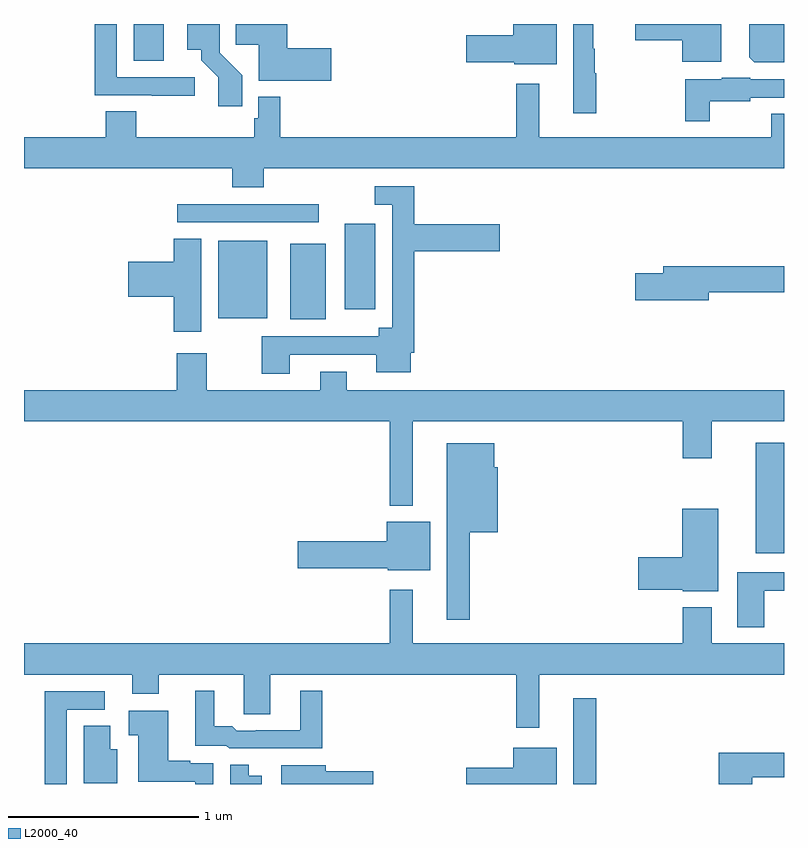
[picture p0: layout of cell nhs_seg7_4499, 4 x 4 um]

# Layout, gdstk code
import gdstk
lib = gdstk.Library(unit=1e-6, precision=1e-09)
def R(c, l, rs):  # rectangles x0, y0, x1, y1
    for r in rs: c.add(gdstk.rectangle(r[:2], r[2:], *l))
def P(c, l, *ps):  # polygons
    for p in ps: c.add(gdstk.Polygon(p, *l))
L2000_40 = (2000, 40)

nhs_seg7_4499 = lib.new_cell('nhs_seg7_4499')
R(nhs_seg7_4499, L2000_40, [(395.891,1040,396.013,1040.452), (396.851,1041.215,397,1041.796), (394.4,1042.445,394.588,1042.843), (394.022,1042.451,394.279,1042.858), (394.688,1042.5,394.849,1042.948), (393.807,1042.956,394.552,1043.052), (393.578,1043.806,393.736,1044)])
P(nhs_seg7_4499, L2000_40, [(394.618,1043.873),(394.385,1043.873),(394.385,1044),(394.114,1044),(394.114,1043.89),(394.235,1043.89),(394.235,1043.702),(394.618,1043.702)],
  [(397,1044),(396.818,1044),(396.818,1043.824),(396.844,1043.798),(397,1043.798)],
  [(396.013,1043.741),(396.005,1043.741),(396.005,1043.87),(395.995,1043.87),(395.995,1044),(395.891,1044),(395.891,1043.529),(396.013,1043.529)],
  [(394.148,1043.73),(394.029,1043.849),(394.029,1044),(393.86,1044),(393.86,1043.864),(393.932,1043.864),(393.932,1043.809),(394.023,1043.719),(394.023,1043.568),(394.148,1043.568)],
  [(393.898,1043.721),(393.489,1043.721),(393.489,1044),(393.373,1044),(393.373,1043.625),(393.673,1043.625),(393.673,1043.623),(393.898,1043.623)],
  [(395.803,1044),(395.576,1044),(395.576,1043.942),(395.328,1043.942),(395.328,1043.8),(395.58,1043.8),(395.58,1043.789),(395.803,1043.789)],
  [(396.67,1044),(396.216,1044),(396.216,1043.915),(396.464,1043.915),(396.464,1043.801),(396.67,1043.801)],
  [(396.61,1043.594),(396.822,1043.594),(396.822,1043.613),(397,1043.613),(397,1043.709),(396.822,1043.709),(396.822,1043.716),(396.672,1043.716),(396.672,1043.71),(396.481,1043.71),(396.481,1043.489),(396.61,1043.489)],
  [(394.262,1043.24),(397,1043.24),(397,1043.528),(396.934,1043.528),(396.934,1043.404),(395.713,1043.404),(395.713,1043.686),(395.592,1043.686),(395.592,1043.404),(394.349,1043.404),(394.349,1043.617),(394.233,1043.617),(394.233,1043.505),(394.213,1043.505),(394.213,1043.404),(393.59,1043.404),(393.59,1043.54),(393.43,1043.54),(393.43,1043.404),(393,1043.404),(393,1043.24),(394.097,1043.24),(394.097,1043.141),(394.262,1043.141)],
  [(394.399,1042.26),(394.853,1042.26),(394.853,1042.166),(395.035,1042.166),(395.035,1042.27),(395.054,1042.27),(395.054,1042.805),(395.503,1042.805),(395.503,1042.947),(395.054,1042.947),(395.054,1043.145),(394.845,1043.145),(394.845,1043.049),(394.938,1043.049),(394.938,1042.402),(394.868,1042.402),(394.868,1042.356),(394.252,1042.356),(394.252,1042.158),(394.399,1042.158)],
  [(393.934,1042.871),(393.788,1042.871),(393.788,1042.748),(393.549,1042.748),(393.549,1042.565),(393.788,1042.565),(393.788,1042.38),(393.934,1042.38)],
  [(396.604,1042.588),(397,1042.588),(397,1042.724),(396.365,1042.724),(396.365,1042.688),(396.216,1042.688),(396.216,1042.546),(396.604,1042.546)],
  [(395.047,1041.908),(396.467,1041.908),(396.467,1041.714),(396.619,1041.714),(396.619,1041.908),(397,1041.908),(397,1042.072),(394.699,1042.072),(394.699,1042.171),(394.559,1042.171),(394.559,1042.072),(393.963,1042.072),(393.963,1042.267),(393.803,1042.267),(393.803,1042.072),(393,1042.072),(393,1041.908),(394.926,1041.908),(394.926,1041.464),(395.047,1041.464)],
  [(395.347,1041.326),(395.494,1041.326),(395.494,1041.666),(395.476,1041.666),(395.476,1041.793),(395.225,1041.793),(395.225,1040.865),(395.347,1040.865)],
  [(396.655,1041.448),(396.464,1041.448),(396.464,1041.194),(396.234,1041.194),(396.234,1041.023),(396.468,1041.023),(396.468,1041.014),(396.655,1041.014)],
  [(395.137,1041.379),(394.91,1041.379),(394.91,1041.278),(394.44,1041.278),(394.44,1041.136),(394.914,1041.136),(394.914,1041.125),(395.137,1041.125)],
  [(396.895,1041.018),(397,1041.018),(397,1041.114),(396.755,1041.114),(396.755,1040.826),(396.895,1040.826)],
  [(395.713,1040.576),(397,1040.576),(397,1040.74),(396.619,1040.74),(396.619,1040.929),(396.467,1040.929),(396.467,1040.74),(395.047,1040.74),(395.047,1041.022),(394.926,1041.022),(394.926,1040.74),(393,1040.74),(393,1040.576),(393.569,1040.576),(393.569,1040.474),(393.709,1040.474),(393.709,1040.576),(394.157,1040.576),(394.157,1040.368),(394.297,1040.368),(394.297,1040.576),(395.592,1040.576),(395.592,1040.295),(395.713,1040.295)],
  [(394.571,1040.491),(394.454,1040.491),(394.454,1040.283),(394.219,1040.283),(394.219,1040.28),(394.119,1040.28),(394.097,1040.303),(394,1040.303),(394,1040.491),(393.902,1040.491),(393.902,1040.202),(394.065,1040.202),(394.08,1040.187),(394.571,1040.187)],
  [(393.225,1040.391),(393.424,1040.391),(393.424,1040.487),(393.109,1040.487),(393.109,1040),(393.225,1040)],
  [(393.996,1040.109),(393.875,1040.109),(393.875,1040.122),(393.76,1040.122),(393.76,1040.386),(393.552,1040.386),(393.552,1040.257),(393.602,1040.257),(393.602,1040.013),(393.9,1040.013),(393.9,1040),(393.996,1040)],
  [(393.49,1040.182),(393.454,1040.182),(393.454,1040.306),(393.314,1040.306),(393.314,1040.003),(393.49,1040.003)],
  [(395.803,1040.191),(395.576,1040.191),(395.576,1040.085),(395.328,1040.085),(395.328,1040),(395.803,1040)],
  [(396.834,1040.035),(397,1040.035),(397,1040.164),(396.656,1040.164),(396.656,1040),(396.834,1040)],
  [(394.252,1040.044),(394.183,1040.044),(394.183,1040.102),(394.086,1040.102),(394.086,1040),(394.252,1040)],
  [(394.837,1040.066),(394.588,1040.066),(394.588,1040.098),(394.353,1040.098),(394.353,1040),(394.837,1040)])

lib.write_gds('nhs_seg7_4499.gds')
